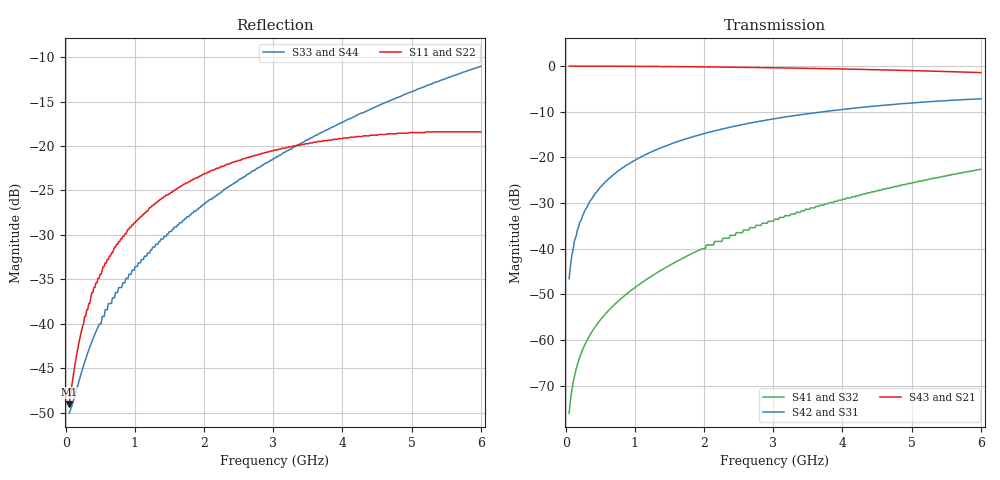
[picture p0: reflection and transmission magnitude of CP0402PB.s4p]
!	AVX THIN FILM OPERATION
!	CP0402 HIGH DIRECTIVITY COUPLERS
!	P/N CP0402PxxxxBNTR
!	Network	Analyzer HP8720ES.07.64:Feb23,2000 Serial No.US39172382
!	Hewlett-Packard
!	12 February 2007	02:45:57
# MHZ S MA R 50
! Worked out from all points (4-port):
!   400 points, 50 MHz to 6 GHz, reference 50 ohm
!   strongest paths, dB at 50 MHz, 1.541 GHz, 3.032 GHz, 4.524 GHz, 6 GHz:
!     S43: 0.0, -0.1, -0.4, -0.8, -1.4
!     S21: 0.0, -0.1, -0.4, -0.7, -1.1
!     S42: -46.6, -17.0, -11.5, -8.7, -7.2
!     S31: -46.6, -17.0, -11.5, -8.7, -7.2
!     S41: -76.0, -43.3, -33.6, -27.3, -22.6
!     S32: -76.0, -43.3, -33.6, -27.3, -22.6
!   lowest |S11| = -49.0 dB at 50 MHz (marker M1), VSWR 1.01, Z = 50.3 - j0.193 ohm
!   |S11| at or under -10 dB: start of sweep to end of sweep
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50  0.003534 -32.8  0.997 -0.5  0.00469 89.4  0.0001576 -88.9
    0.997 -0.5  0.003534 -32.8  0.0001576 -88.9  0.00469 89.4
    0.00469 89.4  0.0001576 -88.9  0.003138 17.2  0.997 -0.7
    0.0001576 -88.9  0.00469 89.4  0.997 -0.7  0.003138 17.2
124.561  0.005572 -58.9  0.997 -1.2  0.012 88.5  0.000394 -88.6
         0.997 -1.2  0.005572 -58.9  0.000394 -88.6  0.012 88.5
         0.012 88.5  0.000394 -88.6  0.003828 37.2  0.997 -1.7
         0.000394 -88.6  0.012 88.5  0.997 -1.7  0.003828 37.2
348.246  0.013 -80.7  0.996 -3.5  0.033 85.9  0.001126 -87.7
         0.996 -3.5  0.013 -80.7  0.001126 -87.7  0.033 85.9
         0.033 85.9  0.001126 -87.7  0.007383 61.5  0.996 -4.6
         0.001126 -87.7  0.033 85.9  0.996 -4.6  0.007383 61.5
706.14  0.027 -90.4  0.994 -7.1  0.066 81.8  0.002448 -87.3
        0.994 -7.1  0.027 -90.4  0.002448 -87.3  0.066 81.8
        0.066 81.8  0.002448 -87.3  0.014 68.3  0.995 -9.4
        0.002448 -87.3  0.066 81.8  0.995 -9.4  0.014 68.3
1257.895  0.046 -98.3  0.989 -12.5  0.117 75.4  0.0051 -90.2
          0.989 -12.5  0.046 -98.3  0.0051 -90.2  0.117 75.4
          0.117 75.4  0.0051 -90.2  0.027 65.9  0.99 -16.7
          0.0051 -90.2  0.117 75.4  0.99 -16.7  0.027 65.9
3166.667  0.097 -115.5  0.952 -30.8  0.276 53.6  0.023 -123.2
          0.952 -30.8  0.097 -115.5  0.023 -123.2  0.276 53.6
          0.276 53.6  0.023 -123.2  0.092 42.4  0.953 -42.0
          0.023 -123.2  0.276 53.6  0.953 -42.0  0.092 42.4
6000  0.12 -129.0  0.884 -55.3  0.438 21.6  0.074 169.5
      0.884 -55.3  0.12 -129.0  0.074 169.5  0.438 21.6
      0.438 21.6  0.074 169.5  0.281 3.1  0.847 -80.0
      0.074 169.5  0.438 21.6  0.847 -80.0  0.281 3.1
